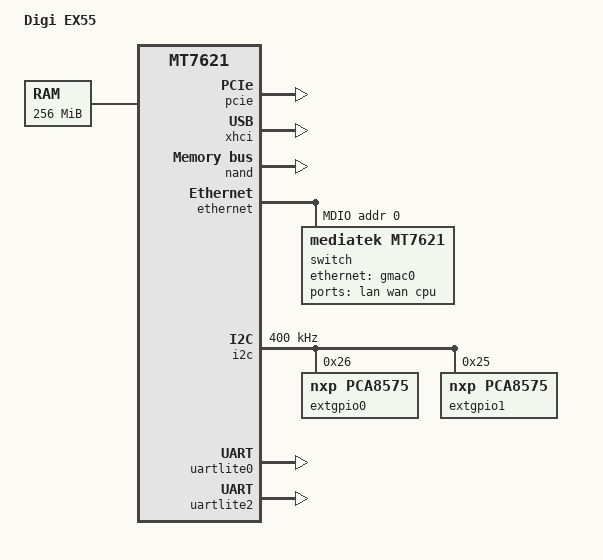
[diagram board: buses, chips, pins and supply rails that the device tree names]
/dts-v1/;

#include "mt7621.dtsi"
#include <dt-bindings/gpio/gpio.h>

/ {
	model = "Digi EX55";
	compatible = "digi,ex55", "mediatek,mt7621-soc";

	memory@0 {
		device_type = "memory";
		reg = <0x0 0x10000000>;
	};
};

&pcie {
	pinctrl-names = "default";
	pinctrl-0 = <&pcie_pins>;
	status = "okay";
};

&xhci {
	status = "okay";
};

&nand {
	status = "okay";
	pin-ctrl-names = "default";
	pinctrl-0 = <&nand_pins>;

	partition@0 {
		label = "u-boot";
		reg = <0x00000000 0x00200000>;
	};
	partition@1 {
		label = "u-boot-env";
		reg = <0x00200000 0x00100000>;
	};
	partition@2 {
		label = "log";
		reg = <0x00300000 0x00200000>;
	};
	partition@3 {
		label = "flash";
		reg = <0x00500000 0>;
	};
	partition@4 {
		label = "all";
		reg = <0x00000000 0>;
	};
};

&ethernet {
	status = "okay";

	gmac0: mac@0 {
		compatible = "mediatek,eth-mac";
		reg = <0>;
		phy-mode = "rgmii";

		fixed-link {
			speed = <1000>;
			full-duplex;
			pause;
		};
	};

	mdio-bus {
		#address-cells = <1>;
		#size-cells = <0>;

		switch@0 {
			compatible = "mediatek,mt7621", "mediatek,mt7530";
			reg = <0>;

			ports {
				#address-cells = <1>;
				#size-cells = <0>;

				port@0 {
					reg = <0>;
					label = "lan";
				};

				port@1 {
					reg = <1>;
					label = "wan";
				};

				port@6 {
					reg = <6>;
					label = "cpu";
					ethernet = <&gmac0>;
					phy-mode = "rgmii";

					fixed-link {
						speed = <1000>;
						full-duplex;
						pause;
					};
				};
			};
		};
	};
};

&i2c {
	clock-frequency = <400000>;
	status = "okay";

	extgpio0: pca8575@26 {
		compatible = "nxp,pca8575";
		reg = <0x26>;
		gpio-controller;
		#gpio-cells = <2>;
	};
	extgpio1: pca8575@25 {
		compatible = "nxp,pca8575";
		reg = <0x25>;
		gpio-controller;
		#gpio-cells = <2>;
	};
};

&uartlite0 {
	status = "okay";
};

&uartlite1 {
	status = "disabled";
};

&uartlite2 {
	status = "okay";
	pinctrl-names = "default";
	pinctrl-0 = <&uart3_pins>;
	dtr-gpios = <&gpio 27 GPIO_ACTIVE_LOW>;
	dcd-gpios = <&gpio 23 GPIO_ACTIVE_LOW>;
};

&pinctrl {
	state_default: pinctrl0 {
		gpio {
			group = "rgmii2", "uart2";
			function = "gpio";
		};
	};
};
